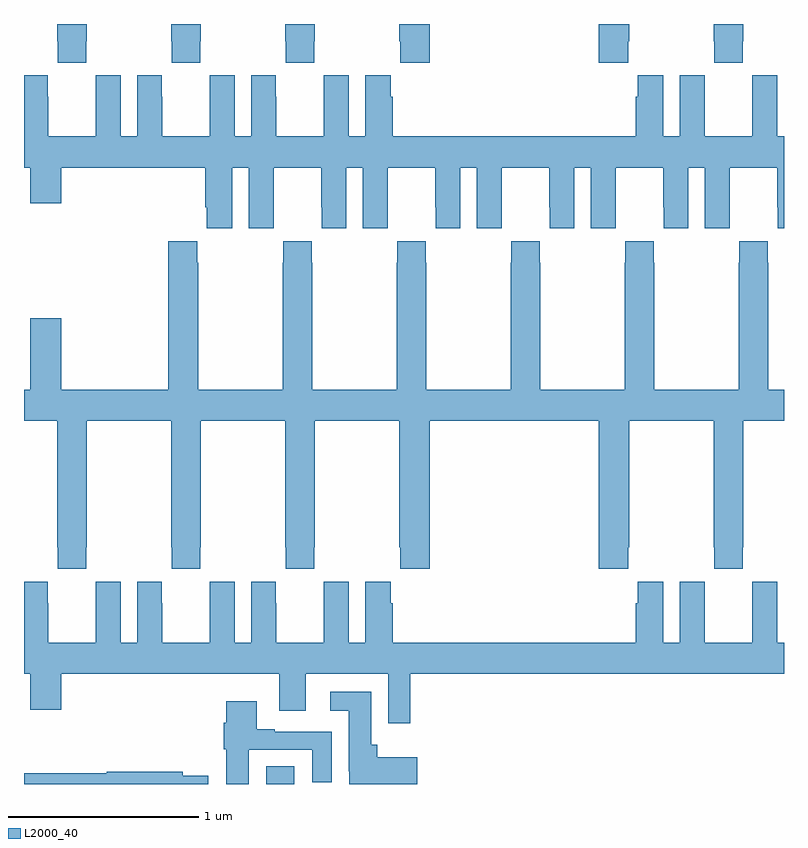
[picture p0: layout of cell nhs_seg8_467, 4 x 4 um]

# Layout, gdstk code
import gdstk
lib = gdstk.Library(unit=1e-6, precision=1e-09)
def R(c, l, rs):  # rectangles x0, y0, x1, y1
    for r in rs: c.add(gdstk.rectangle(r[:2], r[2:], *l))
def P(c, l, *ps):  # polygons
    for p in ps: c.add(gdstk.Polygon(p, *l))
L2000_40 = (2000, 40)

nhs_seg8_467 = lib.new_cell('nhs_seg8_467')
R(nhs_seg8_467, L2000_40, [(142.274,1135.9,142.423,1135.994)])
P(nhs_seg8_467, L2000_40, [(141.927,1139.809),(141.93,1139.809),(141.93,1139.9),(141.775,1139.9),(141.775,1139.809),(141.777,1139.809),(141.777,1139.697),(141.927,1139.697)],
  [(142.527,1139.809),(142.53,1139.809),(142.53,1139.9),(142.375,1139.9),(142.375,1139.809),(142.377,1139.809),(142.377,1139.697),(142.527,1139.697)],
  [(143.135,1139.9),(142.975,1139.9),(142.975,1139.809),(142.981,1139.809),(142.981,1139.697),(143.135,1139.697)],
  [(144.179,1139.809),(144.186,1139.809),(144.186,1139.9),(144.026,1139.9),(144.026,1139.697),(144.179,1139.697)],
  [(144.783,1139.809),(144.786,1139.809),(144.786,1139.9),(144.631,1139.9),(144.631,1139.809),(144.633,1139.809),(144.633,1139.697),(144.783,1139.697)],
  [(141.327,1139.809),(141.33,1139.809),(141.33,1139.9),(141.175,1139.9),(141.175,1139.809),(141.177,1139.809),(141.177,1139.697),(141.327,1139.697)],
  [(142.096,1139.144),(142.184,1139.144),(142.184,1138.824),(142.314,1138.824),(142.314,1138.936),(142.315,1138.936),(142.315,1139.144),(142.565,1139.144),(142.565,1138.936),(142.566,1138.936),(142.566,1138.824),(142.696,1138.824),(142.696,1139.144),(142.784,1139.144),(142.784,1138.824),(142.914,1138.824),(142.914,1138.936),(142.915,1138.936),(142.915,1139.144),(143.165,1139.144),(143.165,1138.936),(143.166,1138.936),(143.166,1138.824),(143.296,1138.824),(143.296,1139.144),(143.384,1139.144),(143.384,1138.824),(143.514,1138.824),(143.514,1138.936),(143.515,1138.936),(143.515,1139.144),(143.765,1139.144),(143.765,1138.936),(143.766,1138.936),(143.766,1138.824),(143.896,1138.824),(143.896,1139.144),(143.984,1139.144),(143.984,1138.824),(144.114,1138.824),(144.114,1138.936),(144.115,1138.936),(144.115,1139.144),(144.365,1139.144),(144.365,1138.936),(144.366,1138.936),(144.366,1138.824),(144.496,1138.824),(144.496,1139.144),(144.584,1139.144),(144.584,1138.824),(144.714,1138.824),(144.714,1138.936),(144.715,1138.936),(144.715,1139.144),(144.965,1139.144),(144.965,1138.936),(144.966,1138.936),(144.966,1138.824),(145,1138.824),(145,1139.308),(144.964,1139.308),(144.964,1139.629),(144.834,1139.629),(144.834,1139.516),(144.833,1139.516),(144.833,1139.308),(144.583,1139.308),(144.583,1139.516),(144.582,1139.516),(144.582,1139.629),(144.452,1139.629),(144.452,1139.308),(144.364,1139.308),(144.364,1139.629),(144.23,1139.629),(144.23,1139.516),(144.221,1139.516),(144.221,1139.308),(142.94,1139.308),(142.94,1139.516),(142.93,1139.516),(142.93,1139.629),(142.796,1139.629),(142.796,1139.308),(142.708,1139.308),(142.708,1139.629),(142.578,1139.629),(142.578,1139.516),(142.577,1139.516),(142.577,1139.308),(142.327,1139.308),(142.327,1139.516),(142.326,1139.516),(142.326,1139.629),(142.196,1139.629),(142.196,1139.308),(142.108,1139.308),(142.108,1139.629),(141.978,1139.629),(141.978,1139.516),(141.977,1139.516),(141.977,1139.308),(141.727,1139.308),(141.727,1139.516),(141.726,1139.516),(141.726,1139.629),(141.596,1139.629),(141.596,1139.308),(141.508,1139.308),(141.508,1139.629),(141.378,1139.629),(141.378,1139.516),(141.377,1139.516),(141.377,1139.308),(141.127,1139.308),(141.127,1139.516),(141.126,1139.516),(141.126,1139.629),(141,1139.629),(141,1139.144),(141.032,1139.144),(141.032,1138.956),(141.196,1138.956),(141.196,1139.144),(141.953,1139.144),(141.953,1138.936),(141.962,1138.936),(141.962,1138.824),(142.096,1138.824)],
  [(144.026,1137.033),(144.179,1137.033),(144.179,1137.145),(144.186,1137.145),(144.186,1137.812),(144.631,1137.812),(144.631,1137.145),(144.633,1137.145),(144.633,1137.033),(144.783,1137.033),(144.783,1137.145),(144.786,1137.145),(144.786,1137.812),(145,1137.812),(145,1137.976),(144.918,1137.976),(144.918,1138.643),(144.915,1138.643),(144.915,1138.756),(144.765,1138.756),(144.765,1138.643),(144.763,1138.643),(144.763,1137.976),(144.318,1137.976),(144.318,1138.643),(144.315,1138.643),(144.315,1138.756),(144.165,1138.756),(144.165,1138.643),(144.163,1138.643),(144.163,1137.976),(143.718,1137.976),(143.718,1138.643),(143.715,1138.643),(143.715,1138.756),(143.565,1138.756),(143.565,1138.643),(143.563,1138.643),(143.563,1137.976),(143.118,1137.976),(143.118,1138.643),(143.115,1138.643),(143.115,1138.756),(142.965,1138.756),(142.965,1138.643),(142.963,1138.643),(142.963,1137.976),(142.518,1137.976),(142.518,1138.643),(142.515,1138.643),(142.515,1138.756),(142.365,1138.756),(142.365,1138.643),(142.363,1138.643),(142.363,1137.976),(141.918,1137.976),(141.918,1138.643),(141.911,1138.643),(141.911,1138.756),(141.758,1138.756),(141.758,1137.976),(141.196,1137.976),(141.196,1138.351),(141.032,1138.351),(141.032,1137.976),(141,1137.976),(141,1137.812),(141.175,1137.812),(141.175,1137.145),(141.177,1137.145),(141.177,1137.033),(141.327,1137.033),(141.327,1137.145),(141.33,1137.145),(141.33,1137.812),(141.775,1137.812),(141.775,1137.145),(141.777,1137.145),(141.777,1137.033),(141.927,1137.033),(141.927,1137.145),(141.93,1137.145),(141.93,1137.812),(142.375,1137.812),(142.375,1137.145),(142.377,1137.145),(142.377,1137.033),(142.527,1137.033),(142.527,1137.145),(142.53,1137.145),(142.53,1137.812),(142.975,1137.812),(142.975,1137.145),(142.981,1137.145),(142.981,1137.033),(143.135,1137.033),(143.135,1137.812),(144.026,1137.812)],
  [(143.033,1136.48),(145,1136.48),(145,1136.644),(144.964,1136.644),(144.964,1136.965),(144.834,1136.965),(144.834,1136.852),(144.833,1136.852),(144.833,1136.644),(144.583,1136.644),(144.583,1136.852),(144.582,1136.852),(144.582,1136.965),(144.452,1136.965),(144.452,1136.644),(144.364,1136.644),(144.364,1136.965),(144.23,1136.965),(144.23,1136.852),(144.221,1136.852),(144.221,1136.644),(142.94,1136.644),(142.94,1136.852),(142.93,1136.852),(142.93,1136.965),(142.796,1136.965),(142.796,1136.644),(142.708,1136.644),(142.708,1136.965),(142.578,1136.965),(142.578,1136.852),(142.577,1136.852),(142.577,1136.644),(142.327,1136.644),(142.327,1136.852),(142.326,1136.852),(142.326,1136.965),(142.196,1136.965),(142.196,1136.644),(142.108,1136.644),(142.108,1136.965),(141.978,1136.965),(141.978,1136.852),(141.977,1136.852),(141.977,1136.644),(141.727,1136.644),(141.727,1136.852),(141.726,1136.852),(141.726,1136.965),(141.596,1136.965),(141.596,1136.644),(141.508,1136.644),(141.508,1136.965),(141.378,1136.965),(141.378,1136.852),(141.377,1136.852),(141.377,1136.644),(141.127,1136.644),(141.127,1136.852),(141.126,1136.852),(141.126,1136.965),(141,1136.965),(141,1136.48),(141.032,1136.48),(141.032,1136.292),(141.196,1136.292),(141.196,1136.48),(142.343,1136.48),(142.343,1136.286),(142.483,1136.286),(142.483,1136.48),(142.917,1136.48),(142.917,1136.22),(143.033,1136.22)],
  [(143.071,1136.041),(142.859,1136.041),(142.859,1136.106),(142.828,1136.106),(142.828,1136.386),(142.611,1136.386),(142.611,1136.285),(142.709,1136.285),(142.709,1135.966),(142.713,1135.966),(142.713,1135.9),(143.071,1135.9)],
  [(142.183,1136.079),(142.517,1136.079),(142.517,1135.908),(142.621,1135.908),(142.621,1136.175),(142.321,1136.175),(142.321,1136.188),(142.225,1136.188),(142.225,1136.335),(142.064,1136.335),(142.064,1136.222),(142.052,1136.222),(142.052,1136.082),(142.064,1136.082),(142.064,1135.9),(142.183,1135.9)],
  [(141.97,1135.944),(141.836,1135.944),(141.836,1135.964),(141.436,1135.964),(141.436,1135.957),(141,1135.957),(141,1135.9),(141.97,1135.9)])

lib.write_gds('nhs_seg8_467.gds')
